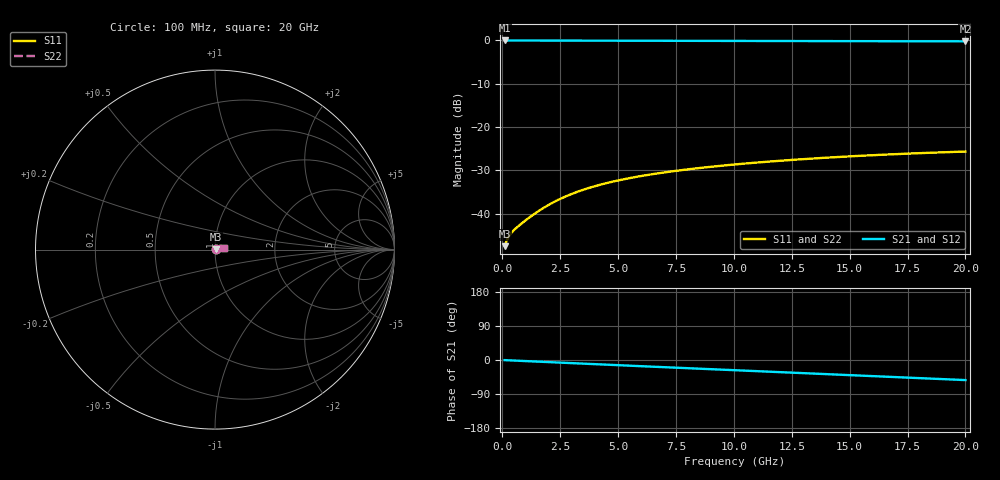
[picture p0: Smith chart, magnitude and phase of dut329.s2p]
! Touchstone file exported from HFSS 2026.1.0
!  File:  C:/ffzhzh/LocalFiles/Ansys_Project_Files/temp_train_TMRDL_329_1783003596_4048.aedt
!  Generated:  10:48:05 PM Jul  2, 2026
!  Design:  TMRDL
!  Project:  temp_train_TMRDL_329_1783003596_4048
! Variables:
!  h_bsmrdl = 2um
!  h_ox = 20um
!  h_rdl = 5um
!  h_sub = 80um
!  h_tmrdl = 5.29um
!  h_tsv = 80um
!  h_via = 3um
!  l_bsmrdl = 300um
!  l_sub = 1367.59um
!  l_tmrdl = 967.59um
!  m_sub = 200um
!  pitch = 22.46um
!  r_tsv = 6um
!  s_tmrdl = 10um
!  w_bsmrdl = 18um
!  w_sub = 500um
!  w_tmrdl = 16.99um
!  x_tsv_center1 = 976.085um
!  x_tsv_center2 = 1294.085um
!  x_tsv_center3 = 2278.665um
!  x_tsv_center4 = 2596.665um
!  x_tsv_center5 = 3581.245um
!  x_tsv_center6 = 3899.245um
# GHz S MA R 50.000000
! Terminal data exported
! Port[1] = TM_RDL1_1_T1
! Port[2] = TM_RDL1_1_T2
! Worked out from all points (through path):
!   200 points, 100 MHz to 20 GHz, reference 50 ohm
!   highest |S21| = -0.04 dB at 100 MHz (marker M1); lowest = -0.2 dB at 20 GHz (marker M2)
!   group delay of S21, straight-line fit = 7.32 ps
!   lowest |S11| = -47.5 dB at 100 MHz (marker M3), VSWR 1.01, Z = 50.4 + j0.116 ohm
!   |S11| at or under -10 dB: start of sweep to end of sweep
!   |S22| runs from -47.5 to -25.7 dB; largest |S21 - S12| = 1.1e-14
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0.1  0.004229 15.7  0.9959 -0.3  0.9959 -0.3  0.004229 15.7
! Gamma 0 0 0 0
! Port Impedance 50 0 50 0
0.2  0.004956 23.3  0.9955 -0.6  0.9955 -0.6  0.004956 23.3
0.3  0.005578 26.6  0.9951 -0.9  0.9951 -0.9  0.005578 26.6
0.4  0.006066 28.9  0.9948 -1.2  0.9948 -1.2  0.006065 28.9
0.5  0.006477 31.0  0.9945 -1.4  0.9945 -1.4  0.006476 31.0
0.7  0.007225 35.0  0.9942 -2.0  0.9942 -2.0  0.007224 35.0
1  0.008371 40.2  0.9939 -2.8  0.9939 -2.8  0.008369 40.3
1.3  0.009601 44.1  0.9935 -3.7  0.9935 -3.7  0.009599 44.1
1.8  0.01177 47.8  0.9929 -5.0  0.9929 -5.0  0.01177 47.8
2.3  0.01396 49.3  0.9921 -6.4  0.9921 -6.4  0.01396 49.4
2.9  0.01652 49.6  0.991 -8.0  0.991 -8.0  0.01651 49.6
3.5  0.01892 48.8  0.99 -9.7  0.99 -9.7  0.01891 48.9
4.2  0.02152 47.4  0.9887 -11.5  0.9887 -11.5  0.0215 47.5
5  0.02422 45.5  0.9873 -13.7  0.9873 -13.7  0.02419 45.6
5.8  0.02667 43.5  0.986 -15.8  0.986 -15.8  0.02664 43.6
6.8  0.02945 41.0  0.9845 -18.5  0.9845 -18.5  0.02941 41.2
8.3  0.03318 37.4  0.9826 -22.4  0.9826 -22.4  0.03312 37.6
10.1  0.03715 33.2  0.9805 -27.1  0.9805 -27.1  0.03705 33.4
11.7  0.0403 29.5  0.9789 -31.3  0.9789 -31.3  0.04017 29.8
13.4  0.04333 25.6  0.9774 -35.8  0.9774 -35.8  0.04317 25.9
16.7  0.04832 17.9  0.9746 -44.4  0.9746 -44.4  0.04807 18.4
20  0.05214 10.1  0.9722 -53.0  0.9722 -53.0  0.0518 10.8
